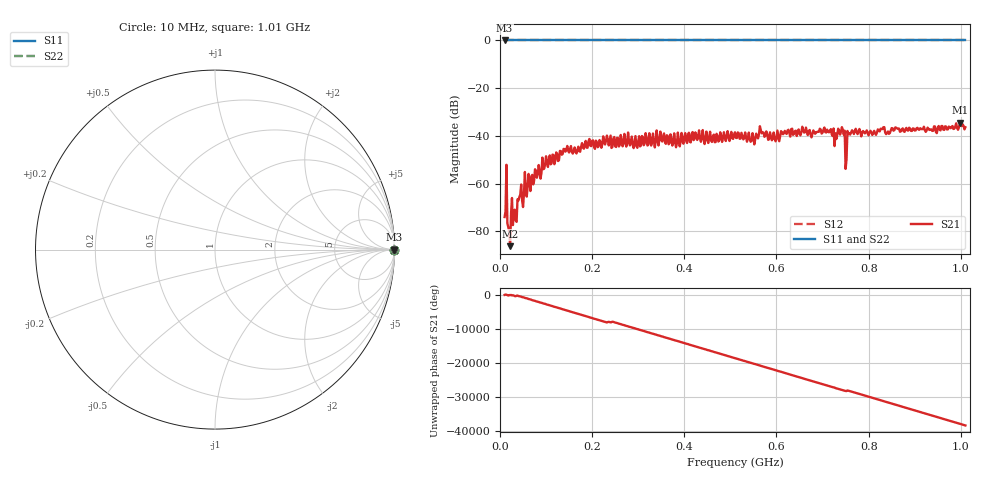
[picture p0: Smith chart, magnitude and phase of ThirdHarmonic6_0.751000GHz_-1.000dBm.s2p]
! 8/16/2025 1:07:31 AM
! C:\ANRITSUVNA\TEMP\TEMP.S2P
! CHANNEL.1
! TR.MEASUREMENT
! RAW.DATA
! RF.CORRECTION.OFF
! AVERAGING.OFF
! IF.BANDWIDTH: 5KHZ
! SWEEPTYPE:  FREQ.SWEEP(Linear)
! Reference Plane Port Info
! PORT:  PORT1  PORT2
! DISTANCE:  0  m  0  m
! TIME:  0  s  0  s
! PHASE.OFFSET:  0  deg.  0  deg.
! LOSS:  0  dB  0  dB
! REF.LOSS:  0  dB  0  dB
! REF.FREQ:  0  Hz  0  Hz
! Power Info
! POWER:  -20  dBm  -20  dBm
! EFF.POWER:  -20  dBm  -20  dBm
! SOURCE.ATTEN:  0  dB  0  dB
! TEST.ATTEN:  0  dB  0  dB
# GHZ S RI R 50.0
! FREQ.GHZ  S11RE  S11IM  S21RE  S21IM  S12RE  S12IM  S22RE  S22IM
!; PortSelection: Port_12
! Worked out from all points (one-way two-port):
!   501 points, 10 MHz to 1.01 GHz, reference 50 ohm
!   highest |S21| = -34.43 dB at 998 MHz (marker M1); lowest = -86.2 dB at 22 MHz (marker M2)
!   lowest |S11| = 0.0 dB at 10 MHz (marker M3)
!   |S11| at or under -10 dB: nowhere
!   |S22| runs from 0.0 to 0.0 dB; largest |S21 - S12| = 1
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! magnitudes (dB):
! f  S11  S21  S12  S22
! 10 MHz  0.0  -74.0  0.0  0.0
! 18 MHz  0.0  -78.3  0.0  0.0
! 20 MHz  0.0  -80.3  0.0  0.0
! 22 MHz  0.0  -86.2  0.0  0.0
! 28 MHz  0.0  -77.4  0.0  0.0
! 32 MHz  0.0  -71.0  0.0  0.0
! 42 MHz  0.0  -65.6  0.0  0.0
! 96 MHz  0.0  -53.7  0.0  0.0
! 142 MHz  0.0  -46.6  0.0  0.0
! 178 MHz  0.0  -43.0  0.0  0.0
! 344 MHz  0.0  -44.0  0.0  0.0
! 378 MHz  0.0  -38.9  0.0  0.0
! 510 MHz  0.0  -38.5  0.0  0.0
! 678 MHz  0.0  -39.1  0.0  0.0
! 744 MHz  0.0  -37.4  0.0  0.0
! 748 MHz  0.0  -37.8  0.0  0.0
! 754 MHz  0.0  -37.9  0.0  0.0
! 758 MHz  0.0  -38.9  0.0  0.0
! 768 MHz  0.0  -39.2  0.0  0.0
! 844 MHz  0.0  -39.1  0.0  0.0
! 998 MHz  0.0  -34.4  0.0  0.0
! 1.01 GHz  0.0  -36.4  0.0  0.0
